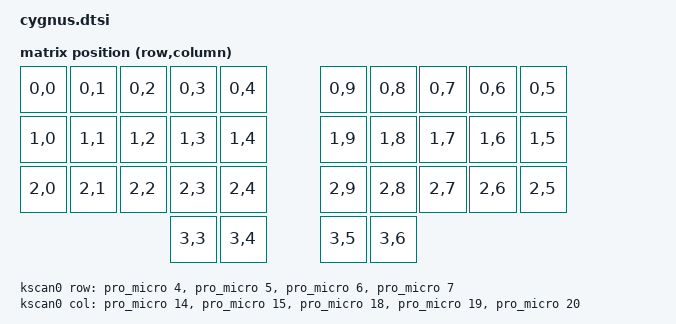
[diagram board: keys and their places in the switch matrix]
#include <dt-bindings/zmk/matrix_transform.h>
#include <physical_layouts.dtsi>

/ {
    chosen {
        zmk,kscan = &kscan0;
        zmk,physical-layout = &layout_cygnus_34;
    };

    // Matrix definition: 4 Rows (3 finger rows + 1 thumb row) x 5 Columns
    kscan0: kscan {
        compatible = "zmk,kscan-gpio-matrix";
        wakeup-source;
        diode-direction = "col2row";

        row-gpios
            = <&pro_micro 4 (GPIO_ACTIVE_HIGH | GPIO_PULL_DOWN)>  // Row 0 (Top)
            , <&pro_micro 5 (GPIO_ACTIVE_HIGH | GPIO_PULL_DOWN)>  // Row 1 (Mid)
            , <&pro_micro 6 (GPIO_ACTIVE_HIGH | GPIO_PULL_DOWN)>  // Row 2 (Bot)
            , <&pro_micro 7 (GPIO_ACTIVE_HIGH | GPIO_PULL_DOWN)>  // Row 3 (Thumbs)
            ;

        col-gpios
            = <&pro_micro 14 GPIO_ACTIVE_HIGH>  // Col 0 (Outer)
            , <&pro_micro 15 GPIO_ACTIVE_HIGH>  // Col 1 (Pinky)
            , <&pro_micro 18 GPIO_ACTIVE_HIGH>  // Col 2 (Ring)
            , <&pro_micro 19 GPIO_ACTIVE_HIGH>  // Col 3 (Middle)
            , <&pro_micro 20 GPIO_ACTIVE_HIGH>  // Col 4 (Index)
            ;
    };

    // Matrix transform for 34 keys (17 keys per half: 3x5 + 2 thumbs)
    default_transform: matrix_transform {
        compatible = "zmk,matrix-transform";
        rows = <4>;
        columns = <10>;

        map = <
            // Left Half                           Right Half
            RC(0,0) RC(0,1) RC(0,2) RC(0,3) RC(0,4)    RC(0,9) RC(0,8) RC(0,7) RC(0,6) RC(0,5)
            RC(1,0) RC(1,1) RC(1,2) RC(1,3) RC(1,4)    RC(1,9) RC(1,8) RC(1,7) RC(1,6) RC(1,5)
            RC(2,0) RC(2,1) RC(2,2) RC(2,3) RC(2,4)    RC(2,9) RC(2,8) RC(2,7) RC(2,6) RC(2,5)
                            RC(3,3) RC(3,4)    RC(3,5) RC(3,6)
        >;
    };

    layout_cygnus_34: layout_cygnus_34 {
        compatible = "zmk,physical-layout";
        display-name = "Cygnus 34-key";
        transform = <&default_transform>;
        kscan = <&kscan0>;
    };
};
